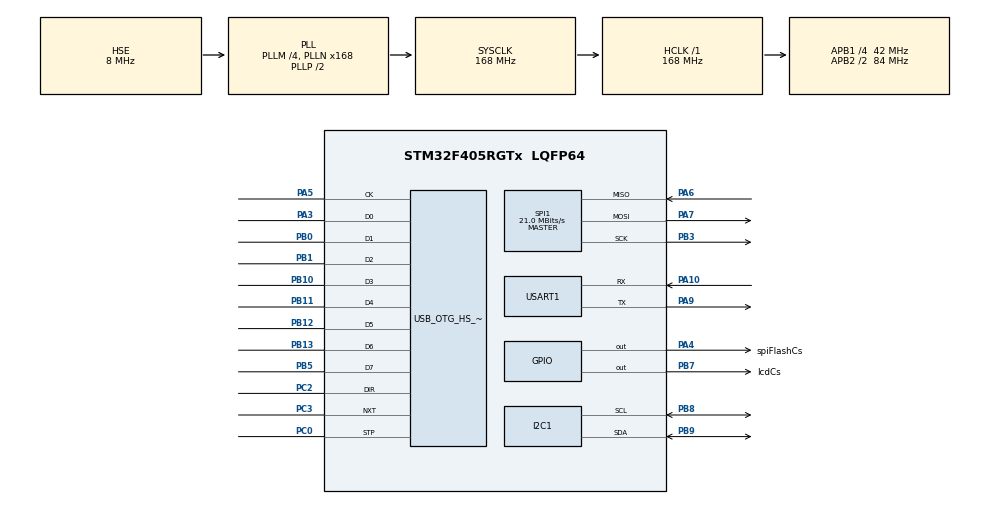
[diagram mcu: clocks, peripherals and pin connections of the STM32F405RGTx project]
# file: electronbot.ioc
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Mcu.Family=STM32F4
Mcu.Name=STM32F405RGTx
Mcu.Package=LQFP64
NVIC.OTG_HS_IRQn=true\:0\:0\:false\:false\:true\:false\:true\:true
NVIC.PriorityGroup=NVIC_PRIORITYGROUP_4
NVIC.TIM8_TRG_COM_TIM14_IRQn=true\:15\:0\:false\:false\:true\:false\:true\:true
NVIC.TimeBase=TIM8_TRG_COM_TIM14_IRQn
NVIC.TimeBaseIP=TIM14
PA10.Mode=Asynchronous
PA10.Signal=USART1_RX
PA13.Mode=Serial_Wire
PA13.Signal=SYS_JTMS-SWDIO
PA14.Mode=Serial_Wire
PA14.Signal=SYS_JTCK-SWCLK
PA3.Mode=Device_HS
PA3.Signal=USB_OTG_HS_ULPI_D0
PA4.GPIO_Label=spiFlashCs
PA4.GPIO_PuPd=GPIO_PULLUP
PA4.PinState=GPIO_PIN_SET
PA4.Signal=GPIO_Output
PA5.Mode=Device_HS
PA5.Signal=USB_OTG_HS_ULPI_CK
PA6.Mode=Full_Duplex_Master
PA6.Signal=SPI1_MISO
PA7.Mode=Full_Duplex_Master
PA7.Signal=SPI1_MOSI
PA9.Mode=Asynchronous
PA9.Signal=USART1_TX
PB0.Mode=Device_HS
PB0.Signal=USB_OTG_HS_ULPI_D1
PB1.Mode=Device_HS
PB1.Signal=USB_OTG_HS_ULPI_D2
PB10.Mode=Device_HS
PB10.Signal=USB_OTG_HS_ULPI_D3
PB11.Mode=Device_HS
PB11.Signal=USB_OTG_HS_ULPI_D4
PB12.Mode=Device_HS
PB12.Signal=USB_OTG_HS_ULPI_D5
PB13.Mode=Device_HS
PB13.Signal=USB_OTG_HS_ULPI_D6
PB3.Mode=Full_Duplex_Master
PB3.Signal=SPI1_SCK
PB5.Mode=Device_HS
PB5.Signal=USB_OTG_HS_ULPI_D7
PB7.GPIO_Label=lcdCs
PB7.GPIO_PuPd=GPIO_PULLUP
PB7.PinState=GPIO_PIN_SET
PB7.Signal=GPIO_Output
PB8.Mode=I2C
PB8.Signal=I2C1_SCL
PB9.Mode=I2C
PB9.Signal=I2C1_SDA
PC0.Mode=Device_HS
PC0.Signal=USB_OTG_HS_ULPI_STP
PC2.Mode=Device_HS
PC2.Signal=USB_OTG_HS_ULPI_DIR
PC3.Mode=Device_HS
PC3.Signal=USB_OTG_HS_ULPI_NXT
PH0-OSC_IN.Mode=HSE-External-Oscillator
PH0-OSC_IN.Signal=RCC_OSC_IN
PH1-OSC_OUT.Mode=HSE-External-Oscillator
PH1-OSC_OUT.Signal=RCC_OSC_OUT
ProjectManager.HeapSize=0x3c00
ProjectManager.StackSize=0x800
ProjectManager.TargetToolchain=Makefile
RCC.48MHZClocksFreq_Value=84000000
RCC.AHBFreq_Value=168000000
RCC.APB1CLKDivider=RCC_HCLK_DIV4
RCC.APB1Freq_Value=42000000
RCC.APB1TimFreq_Value=84000000
RCC.APB2CLKDivider=RCC_HCLK_DIV2
RCC.APB2Freq_Value=84000000
RCC.APB2TimFreq_Value=168000000
RCC.CortexFreq_Value=168000000
RCC.HCLKFreq_Value=168000000
RCC.HSE_VALUE=8000000
RCC.HSI_VALUE=16000000
RCC.LSE_VALUE=32768
RCC.PLLM=4
RCC.PLLN=168
RCC.PLLSourceVirtual=RCC_PLLSOURCE_HSE
RCC.SYSCLKFreq_VALUE=168000000
RCC.SYSCLKSource=RCC_SYSCLKSOURCE_PLLCLK
RCC.VCOOutputFreq_Value=336000000
SPI1.BaudRatePrescaler=SPI_BAUDRATEPRESCALER_4
SPI1.CLKPhase=SPI_PHASE_1EDGE
SPI1.CLKPolarity=SPI_POLARITY_LOW
SPI1.CRCCalculation=SPI_CRCCALCULATION_DISABLE
SPI1.CalculateBaudRate=21.0 MBits/s
SPI1.Direction=SPI_DIRECTION_2LINES
SPI1.Mode=SPI_MODE_MASTER
SPI1.VirtualType=VM_MASTER
USART1.VirtualMode=VM_ASYNC
USB_DEVICE.CLASS_NAME_HS=MSC
USB_DEVICE.VirtualMode-MSC_HS=Msc
USB_DEVICE.VirtualModeHS=Msc_HS
USB_OTG_HS.VirtualMode-Device_HS=Device_HS
VP_SYS_VS_tim14.Mode=TIM14
VP_USB_DEVICE_VS_USB_DEVICE_MSC_HS.Mode=MSC_HS
board=custom

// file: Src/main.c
/* USER CODE BEGIN Header */
/**
  ******************************************************************************
  * @file           : main.c
  * @brief          : Main program body
  ******************************************************************************
  * @attention
  *
  * Copyright (c) 2022 STMicroelectronics.
  * All rights reserved.
  *
  * This software is licensed under terms that can be found in the LICENSE file
  * in the root directory of this software component.
  * If no LICENSE file comes with this software, it is provided AS-IS.
  *
  ******************************************************************************
  */
/* USER CODE END Header */
#include "main.h"
#include "i2c.h"
#include "spi.h"
#include "usart.h"
#include "usb_device.h"
#include "gpio.h"

/* USER CODE BEGIN Includes */
#include <stdio.h>
#include "w25q32.h"
/* USER CODE END Includes */

/* USER CODE BEGIN PV */
uint8_t i2cRxData[8];
uint8_t i2cTxData[8];
/* USER CODE END PV */

void SystemClock_Config(void);

/* USER CODE BEGIN 0 */
void TransmitAndReceiveI2cPacket(uint8_t _id)
{
    HAL_StatusTypeDef state = HAL_ERROR;
    do
    {
        state = HAL_I2C_Master_Transmit(&hi2c1, _id, i2cTxData, 5, 5);
    } while (state != HAL_OK);
    do
    {
        state = HAL_I2C_Master_Receive(&hi2c1, _id, i2cRxData, 5, 5);
    } while (state != HAL_OK);
}

int _write(int fd, char *ch, int len)
{
  // int i;
  HAL_UART_Transmit(&huart1, (uint8_t*)ch, len, 0xFFFF);

  return len;
}
/* USER CODE END 0 */

int main(void)
{
  /* USER CODE BEGIN 1 */
  int i;
  /* USER CODE END 1 */

  /* MCU Configuration--------------------------------------------------------*/

  /* Reset of all peripherals, Initializes the Flash interface and the Systick. */
  HAL_Init();

  /* Configure the system clock */
  SystemClock_Config();

  /* Initialize all configured peripherals */
  MX_GPIO_Init();
  MX_I2C1_Init();
  MX_USART1_UART_Init();

  MX_SPI1_Init();
  /* USER CODE BEGIN 2 */
  printf("hello electronbot coming...\r\n");
  SpiFlash_Init();

  MX_USB_DEVICE_Init();

  /* i2cTxData[0]=0x21;
  i2cTxData[1]=0x02;
  TransmitAndReceiveI2cPacket(0);

  for(i =0;i<5;i++)
        printf("%.2x ",i2cRxData[i]);
    printf("\r\n");*/
  /* USER CODE END 2 */

  /* Infinite loop */
  /* USER CODE BEGIN WHILE */
  while (1)
  {
     /*  HAL_StatusTypeDef sta=HAL_UART_Receive(&huart1, i2cTxData, 6, 0xffffffff);
    if(sta == HAL_OK)
    {
       for(i =0;i<6;i++)
         printf("%.2x ",i2cTxData[i]);
       printf("\r\n");
       TransmitAndReceiveI2cPacket(i2cTxData[5]);
       for(i =0;i<5;i++)
        printf("%.2x ",i2cRxData[i]);
      printf("\r\n");

    } */
    /* USER CODE END WHILE */

  }
}

void SystemClock_Config(void)
{
  RCC_OscInitTypeDef RCC_OscInitStruct = {0};
  RCC_ClkInitTypeDef RCC_ClkInitStruct = {0};

  /** Configure the main internal regulator output voltage
  */
  __HAL_RCC_PWR_CLK_ENABLE();
  __HAL_PWR_VOLTAGESCALING_CONFIG(PWR_REGULATOR_VOLTAGE_SCALE1);

  /** Initializes the RCC Oscillators according to the specified parameters
  * in the RCC_OscInitTypeDef structure.
  */
  RCC_OscInitStruct.OscillatorType = RCC_OSCILLATORTYPE_HSE;
  RCC_OscInitStruct.HSEState = RCC_HSE_ON;
  RCC_OscInitStruct.PLL.PLLState = RCC_PLL_ON;
  RCC_OscInitStruct.PLL.PLLSource = RCC_PLLSOURCE_HSE;
  RCC_OscInitStruct.PLL.PLLM = 4;
  RCC_OscInitStruct.PLL.PLLN = 168;
  RCC_OscInitStruct.PLL.PLLP = RCC_PLLP_DIV2;
  RCC_OscInitStruct.PLL.PLLQ = 4;
  if (HAL_RCC_OscConfig(&RCC_OscInitStruct) != HAL_OK)
  {
    Error_Handler();
  }

  /** Initializes the CPU, AHB and APB buses clocks
  */
  RCC_ClkInitStruct.ClockType = RCC_CLOCKTYPE_HCLK|RCC_CLOCKTYPE_SYSCLK
                              |RCC_CLOCKTYPE_PCLK1|RCC_CLOCKTYPE_PCLK2;
  RCC_ClkInitStruct.SYSCLKSource = RCC_SYSCLKSOURCE_PLLCLK;
  RCC_ClkInitStruct.AHBCLKDivider = RCC_SYSCLK_DIV1;
  RCC_ClkInitStruct.APB1CLKDivider = RCC_HCLK_DIV4;
  RCC_ClkInitStruct.APB2CLKDivider = RCC_HCLK_DIV2;

  if (HAL_RCC_ClockConfig(&RCC_ClkInitStruct, FLASH_LATENCY_5) != HAL_OK)
  {
    Error_Handler();
  }
}

void HAL_TIM_PeriodElapsedCallback(TIM_HandleTypeDef *htim)
{
  if (htim->Instance == TIM14) {
    HAL_IncTick();
  }
}

void Error_Handler(void)
{
  __disable_irq();
  while (1)
  {
  }
}
